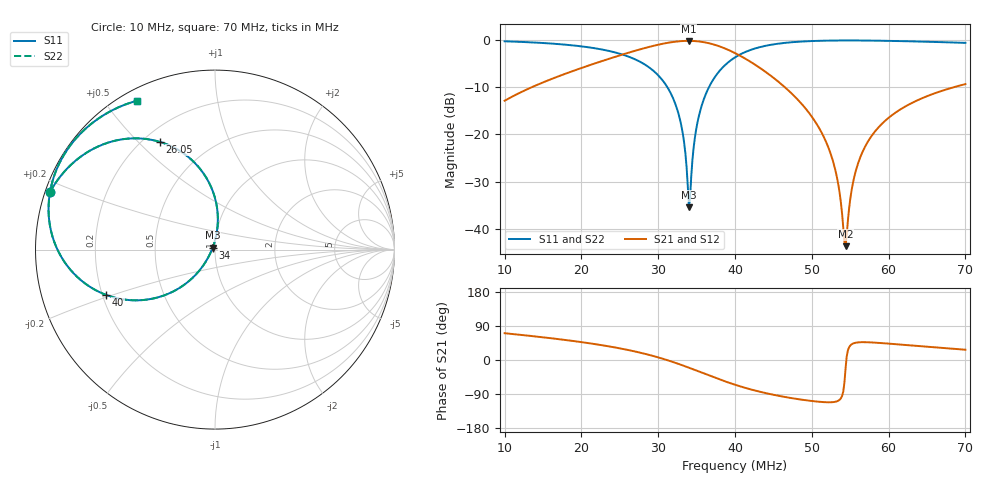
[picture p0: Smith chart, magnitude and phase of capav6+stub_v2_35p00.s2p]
! Touchstone file exported from HFSS 2025.2.0
!  File:  C:/Users/32474/OneDrive - UCL/Documents/Ingenieur/MASTER1/Stage/HFSS/capav6+stub.aedt
!  Generated:  07:25:49 PM Jul 17, 2026
!  Design:  HFSSDesign1
!  Project:  capav6+stub
!  Setup:  Setup4
!  Solution:  Sweep
# GHz S MA R 50.000000
! Terminal data exported
! Port[1] = capa_35p00_v2_1_1
! Port[2] = capa_35p00_v2_1_2
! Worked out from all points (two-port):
!   401 points, 10 MHz to 70 MHz, reference 50 ohm
!   highest |S21| = -0.14 dB at 34 MHz (marker M1); lowest = -43.7 dB at 54.4 MHz (marker M2)
!   |S21| within 3 dB of the highest: 25.16 MHz to 40.49 MHz (15.33 MHz wide, 46.7 % of centre)
!   lowest |S11| = -35.4 dB at 34 MHz (marker M3), VSWR 1.03, Z = 48.7 + j1.03 ohm
!   |S11| at or under -10 dB: 31.2 MHz to 36.6 MHz (5.399 MHz wide, 15.9 % of centre)
!   |S22| runs from -35.6 to -0.1 dB; largest |S21 - S12| = 1.9e-15
!   S11 on the Smith chart (normalised r, x): 10 MHz: 0.01, +0.17; 26.05 MHz: 0.26, +0.58; 34 MHz: 0.97, +0.02; 40 MHz: 0.22, -0.19; 70 MHz: 0.04, +0.60
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0.01  0.9734 160.8  0.2279 70.7  0.2279 70.7  0.9734 160.8
! Gamma 4.27460525573406E-05 0.209627352676733 4.35469211749236E-05 0.209628197874201
! Port Impedance 50 0 50 0
0.02005  0.8593 137.3  0.5087 47.1  0.5087 47.1  0.8593 137.2
0.02605  0.6734 117.1  0.7332 26.5  0.7332 26.5  0.6734 117.0
0.0301  0.4157 97.7  0.8994 6.3  0.8994 6.3  0.4157 97.7
0.03265  0.165 84.5  0.9725 -10.3  0.9725 -10.3  0.165 84.4
0.03325  0.0966 84.2  0.9806 -14.7  0.9806 -14.7  0.09655 84.0
0.034  0.01695 141.2  0.984 -20.3  0.984 -20.3  0.01666 140.9
0.0343  0.03563 -140.3  0.983 -22.6  0.983 -22.6  0.03548 -139.9
0.03505  0.1262 -126.5  0.9745 -28.4  0.9745 -28.4  0.1262 -126.4
0.03595  0.2377 -130.1  0.9525 -35.5  0.9525 -35.5  0.2377 -130.1
0.0376  0.4309 -141.1  0.8814 -48.3  0.8814 -48.3  0.4309 -141.1
0.04  0.6568 -157.4  0.7303 -65.3  0.7303 -65.3  0.6568 -157.4
0.04435  0.884 179.1  0.4385 -89.0  0.4385 -89.0  0.884 179.1
0.05005  0.9796 158.4  0.1525 -108.3  0.1525 -108.3  0.9796 158.4
0.05275  0.9915 151.0  0.05243 -111.2  0.05243 -111.2  0.9915 151.0
0.05335  0.9926 149.5  0.03267 -108.4  0.03267 -108.4  0.9926 149.5
0.0541  0.9934 147.7  0.01028 -83.0  0.01028 -83.0  0.9934 147.7
0.0544  0.9935 147.0  0.006534 -21.1  0.006534 -21.1  0.9935 147.0
0.0553  0.9935 144.9  0.02895 42.8  0.02895 42.8  0.9935 144.9
0.0562  0.9927 142.9  0.05425 46.8  0.05425 46.8  0.9927 142.9
0.0601  0.9835 134.9  0.1525 43.1  0.1525 43.1  0.9835 134.8
0.07  0.9363 117.7  0.3422 27.1  0.3422 27.1  0.9363 117.6
